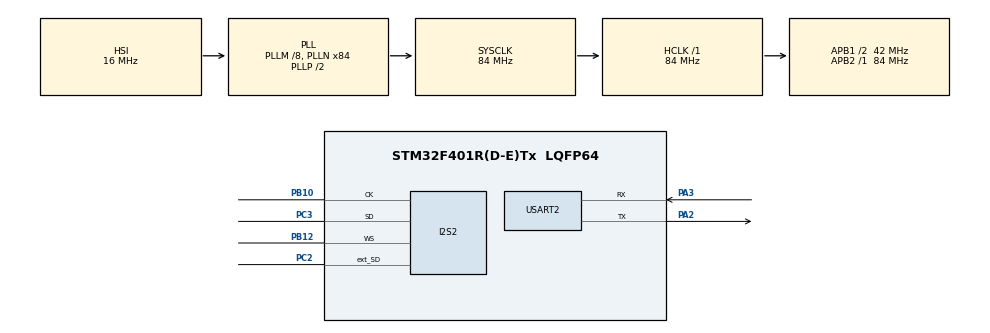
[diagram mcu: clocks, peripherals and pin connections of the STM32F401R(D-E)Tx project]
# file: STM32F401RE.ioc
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Dma.Request0=SPI2_RX
Dma.SPI2_RX.0.Direction=DMA_PERIPH_TO_MEMORY
Dma.SPI2_RX.0.FIFOMode=DMA_FIFOMODE_DISABLE
Dma.SPI2_RX.0.Instance=DMA1_Stream3
Dma.SPI2_RX.0.MemDataAlignment=DMA_MDATAALIGN_WORD
Dma.SPI2_RX.0.MemInc=DMA_MINC_ENABLE
Dma.SPI2_RX.0.Mode=DMA_NORMAL
Dma.SPI2_RX.0.PeriphDataAlignment=DMA_PDATAALIGN_WORD
Dma.SPI2_RX.0.PeriphInc=DMA_PINC_DISABLE
Dma.SPI2_RX.0.Priority=DMA_PRIORITY_LOW
I2S2.AudioFreq=I2S_AUDIOFREQ_48K
I2S2.CPOL=I2S_CPOL_HIGH
I2S2.DataFormat=I2S_DATAFORMAT_24B
I2S2.ErrorAudioFreq=-0.79 %
I2S2.FullDuplexMode=I2S_FULLDUPLEXMODE_ENABLE
I2S2.Instance=SPI$Index
I2S2.Mode=I2S_MODE_MASTER_RX
I2S2.RealAudioFreq=47.619 KHz
I2S2.Standard=I2S_STANDARD_MSB
I2S2.VirtualMode=I2S_MODE_MASTER
Mcu.Family=STM32F4
Mcu.Name=STM32F401R(D-E)Tx
Mcu.Package=LQFP64
NVIC.DMA1_Stream3_IRQn=true\:0\:0\:false\:false\:true\:false
NVIC.PriorityGroup=NVIC_PRIORITYGROUP_4
NVIC.SPI2_IRQn=true\:0\:0\:false\:false\:true\:true
PA13.Mode=Serial_Wire
PA13.Signal=SYS_JTMS-SWDIO
PA14.Mode=Serial_Wire
PA14.Signal=SYS_JTCK-SWCLK
PA2.Mode=Asynchronous
PA2.Signal=USART2_TX
PA3.Mode=Asynchronous
PA3.Signal=USART2_RX
PB10.Mode=Full_Duplex_Master
PB10.Signal=I2S2_CK
PB12.Mode=Full_Duplex_Master
PB12.Signal=I2S2_WS
PC2.Mode=Full_Duplex_Master
PC2.Signal=I2S2_ext_SD
PC3.Mode=Full_Duplex_Master
PC3.Signal=I2S2_SD
ProjectManager.HeapSize=0x400
ProjectManager.StackSize=0x800
ProjectManager.TargetToolchain=MDK-ARM V5
RCC.48MHZClocksFreq_Value=42000000
RCC.AHBFreq_Value=84000000
RCC.APB1CLKDivider=RCC_HCLK_DIV2
RCC.APB1Freq_Value=42000000
RCC.APB1TimFreq_Value=84000000
RCC.APB2Freq_Value=84000000
RCC.APB2TimFreq_Value=84000000
RCC.CortexFreq_Value=84000000
RCC.HCLKFreq_Value=84000000
RCC.HSE_VALUE=25000000
RCC.HSI_VALUE=16000000
RCC.LSE_VALUE=32768
RCC.PLLM=8
RCC.PLLN=84
RCC.SYSCLKFreq_VALUE=84000000
RCC.SYSCLKSource=RCC_SYSCLKSOURCE_PLLCLK
RCC.VCOOutputFreq_Value=168000000
USART2.VirtualMode=VM_ASYNC
board=custom

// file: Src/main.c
/* USER CODE BEGIN Header */
/**
  ******************************************************************************
  * @file           : main.c
  * @brief          : Main program body
  ******************************************************************************
  ** This notice applies to any and all portions of this file
  * that are not between comment pairs USER CODE BEGIN and
  * USER CODE END. Other portions of this file, whether
  * inserted by the user or by software development tools
  * are owned by their respective copyright owners.
  *
  * COPYRIGHT(c) 2019 STMicroelectronics
  *
  * Redistribution and use in source and binary forms, with or without modification,
  * are permitted provided that the following conditions are met:
  *   1. Redistributions of source code must retain the above copyright notice,
  *      this list of conditions and the following disclaimer.
  *   2. Redistributions in binary form must reproduce the above copyright notice,
  *      this list of conditions and the following disclaimer in the documentation
  *      and/or other materials provided with the distribution.
  *   3. Neither the name of STMicroelectronics nor the names of its contributors
  *      may be used to endorse or promote products derived from this software
  *      without specific prior written permission.
  *
  * THIS SOFTWARE IS PROVIDED BY THE COPYRIGHT HOLDERS AND CONTRIBUTORS "AS IS"
  * AND ANY EXPRESS OR IMPLIED WARRANTIES, INCLUDING, BUT NOT LIMITED TO, THE
  * IMPLIED WARRANTIES OF MERCHANTABILITY AND FITNESS FOR A PARTICULAR PURPOSE ARE
  * DISCLAIMED. IN NO EVENT SHALL THE COPYRIGHT HOLDER OR CONTRIBUTORS BE LIABLE
  * FOR ANY DIRECT, INDIRECT, INCIDENTAL, SPECIAL, EXEMPLARY, OR CONSEQUENTIAL
  * DAMAGES (INCLUDING, BUT NOT LIMITED TO, PROCUREMENT OF SUBSTITUTE GOODS OR
  * SERVICES; LOSS OF USE, DATA, OR PROFITS; OR BUSINESS INTERRUPTION) HOWEVER
  * CAUSED AND ON ANY THEORY OF LIABILITY, WHETHER IN CONTRACT, STRICT LIABILITY,
  * OR TORT (INCLUDING NEGLIGENCE OR OTHERWISE) ARISING IN ANY WAY OUT OF THE USE
  * OF THIS SOFTWARE, EVEN IF ADVISED OF THE POSSIBILITY OF SUCH DAMAGE.
  *
  ******************************************************************************
  */
/* USER CODE END Header */

#include "main.h"

I2S_HandleTypeDef hi2s2;
DMA_HandleTypeDef hdma_spi2_rx;

UART_HandleTypeDef huart2;

/* USER CODE BEGIN PV */

#define I2S_LENGTH		(20)
uint16_t I2SRXBUFFER[I2S_LENGTH] ={0};
uint16_t I2STXBUFFER[I2S_LENGTH] ={0};

/* USER CODE END PV */

void SystemClock_Config(void);
static void MX_GPIO_Init(void);
static void MX_DMA_Init(void);
static void MX_USART2_UART_Init(void);
static void MX_I2S2_Init(void);
/* USER CODE BEGIN PFP */
#ifdef __GNUC__
/* With GCC/RAISONANCE, small printf (option LD Linker->Libraries->Small printf
 set to 'Yes') calls __io_putchar() */
#define PUTCHAR_PROTOTYPE int __io_putchar(int ch)
#else
#define PUTCHAR_PROTOTYPE int fputc(int ch, FILE *f)
#endif /* __GNUC__ */

/**
  * @brief  Retargets the C library printf function to the USART.
  * @param  None
  * @retval None
  */

PUTCHAR_PROTOTYPE
{
	/* Place your implementation of fputc here */
	/* e.g. write a character to the EVAL_COM1 and Loop until the end of transmission */
	HAL_UART_Transmit(&huart2, (uint8_t *)&ch, 1, 0xFFFF);

	return ch;
}

/* USER CODE END PFP */

/* USER CODE BEGIN 0 */

void I2S_RxReceive(void)
{
	#define	TIMEOUT	(0x100)
	uint32_t i = 0;
	HAL_StatusTypeDef res = HAL_OK;
//	uint32_t timeout = TIMEOUT;

	#if 1
	res = HAL_I2S_Receive_DMA(&hi2s2,(uint16_t*)&I2SRXBUFFER[0], I2S_LENGTH );
//	res = HAL_I2S_Receive(&hi2s2,(uint16_t*)&I2SRXBUFFER[0], I2S_LENGTH ,TIMEOUT);
//	res = HAL_I2S_Receive_IT(&hi2s2,(uint16_t*)&I2SRXBUFFER[0], I2S_LENGTH );

	HAL_I2S_DMAStop(&hi2s2);

	if (res != HAL_OK)
	{
		printf("%s : (0x%2X)(0x%2X)(0x%2X)\r\n" , __FUNCTION__ , res , HAL_I2S_GetState(&hi2s2),HAL_I2S_GetError(&hi2s2));
		Error_Handler();
	}
	#endif

	#if 1	//debug
	for (i= 0;i<I2S_LENGTH;i++)
	{
		printf("0x%4X, " , I2SRXBUFFER[i]);

		if ((i+1)%(I2S_LENGTH>>1) == 0)
		{
			printf("\r\n");
		}
	}
	#endif

	HAL_I2S_DMAResume(&hi2s2);
}

void HAL_I2S_RxCpltCallback(I2S_HandleTypeDef *hi2s)
{
	printf("%s \r\n" , __FUNCTION__ );

}

/* USER CODE END 0 */

int main(void)
{

  /* MCU Configuration--------------------------------------------------------*/

  /* Reset of all peripherals, Initializes the Flash interface and the Systick. */
  HAL_Init();

  /* Configure the system clock */
  SystemClock_Config();

  /* Initialize all configured peripherals */
  MX_GPIO_Init();
  MX_DMA_Init();
  MX_USART2_UART_Init();
  MX_I2S2_Init();

  /* Infinite loop */
  while (1)
  {
	HAL_Delay(1000);
	printf("while (1)\r\n");
	I2S_RxReceive();

  }
}

void SystemClock_Config(void)
{
  RCC_OscInitTypeDef RCC_OscInitStruct = {0};
  RCC_ClkInitTypeDef RCC_ClkInitStruct = {0};
  RCC_PeriphCLKInitTypeDef PeriphClkInitStruct = {0};

  /**Configure the main internal regulator output voltage
  */
  __HAL_RCC_PWR_CLK_ENABLE();
  __HAL_PWR_VOLTAGESCALING_CONFIG(PWR_REGULATOR_VOLTAGE_SCALE2);
  /**Initializes the CPU, AHB and APB busses clocks
  */
  RCC_OscInitStruct.OscillatorType = RCC_OSCILLATORTYPE_HSI;
  RCC_OscInitStruct.HSIState = RCC_HSI_ON;
  RCC_OscInitStruct.HSICalibrationValue = RCC_HSICALIBRATION_DEFAULT;
  RCC_OscInitStruct.PLL.PLLState = RCC_PLL_ON;
  RCC_OscInitStruct.PLL.PLLSource = RCC_PLLSOURCE_HSI;
  RCC_OscInitStruct.PLL.PLLM = 8;
  RCC_OscInitStruct.PLL.PLLN = 84;
  RCC_OscInitStruct.PLL.PLLP = RCC_PLLP_DIV2;
  RCC_OscInitStruct.PLL.PLLQ = 4;
  if (HAL_RCC_OscConfig(&RCC_OscInitStruct) != HAL_OK)
  {
    Error_Handler();
  }
  /**Initializes the CPU, AHB and APB busses clocks
  */
  RCC_ClkInitStruct.ClockType = RCC_CLOCKTYPE_HCLK|RCC_CLOCKTYPE_SYSCLK
                              |RCC_CLOCKTYPE_PCLK1|RCC_CLOCKTYPE_PCLK2;
  RCC_ClkInitStruct.SYSCLKSource = RCC_SYSCLKSOURCE_PLLCLK;
  RCC_ClkInitStruct.AHBCLKDivider = RCC_SYSCLK_DIV1;
  RCC_ClkInitStruct.APB1CLKDivider = RCC_HCLK_DIV2;
  RCC_ClkInitStruct.APB2CLKDivider = RCC_HCLK_DIV1;

  if (HAL_RCC_ClockConfig(&RCC_ClkInitStruct, FLASH_LATENCY_2) != HAL_OK)
  {
    Error_Handler();
  }
  PeriphClkInitStruct.PeriphClockSelection = RCC_PERIPHCLK_I2S;
  PeriphClkInitStruct.PLLI2S.PLLI2SN = 192;
  PeriphClkInitStruct.PLLI2S.PLLI2SR = 2;
  if (HAL_RCCEx_PeriphCLKConfig(&PeriphClkInitStruct) != HAL_OK)
  {
    Error_Handler();
  }
}

static void MX_I2S2_Init(void)
{

  /* USER CODE BEGIN I2S2_Init 0 */
  HAL_I2S_DeInit(&hi2s2);
  __HAL_I2S_DISABLE(&hi2s2);
  /* USER CODE END I2S2_Init 0 */

  hi2s2.Instance = SPI2;
  hi2s2.Init.Mode = I2S_MODE_MASTER_RX;
  hi2s2.Init.Standard = I2S_STANDARD_MSB;
  hi2s2.Init.DataFormat = I2S_DATAFORMAT_24B;
  hi2s2.Init.MCLKOutput = I2S_MCLKOUTPUT_DISABLE;
  hi2s2.Init.AudioFreq = I2S_AUDIOFREQ_48K;
  hi2s2.Init.CPOL = I2S_CPOL_HIGH;
  hi2s2.Init.ClockSource = I2S_CLOCK_PLL;
  hi2s2.Init.FullDuplexMode = I2S_FULLDUPLEXMODE_ENABLE;
  if (HAL_I2S_Init(&hi2s2) != HAL_OK)
  {
    Error_Handler();
  }

}

static void MX_USART2_UART_Init(void)
{

  huart2.Instance = USART2;
  huart2.Init.BaudRate = 115200;
  huart2.Init.WordLength = UART_WORDLENGTH_8B;
  huart2.Init.StopBits = UART_STOPBITS_1;
  huart2.Init.Parity = UART_PARITY_NONE;
  huart2.Init.Mode = UART_MODE_TX_RX;
  huart2.Init.HwFlowCtl = UART_HWCONTROL_NONE;
  huart2.Init.OverSampling = UART_OVERSAMPLING_16;
  if (HAL_UART_Init(&huart2) != HAL_OK)
  {
    Error_Handler();
  }
  /* USER CODE BEGIN USART2_Init 2 */
	printf("HAL_RCC_GetSysClockFreq = %d\r\n",HAL_RCC_GetSysClockFreq());
 	printf("HAL_RCC_GetHCLKFreq = %d\r\n",HAL_RCC_GetHCLKFreq());
	printf("HAL_RCC_GetPCLK1Freq = %d\r\n",HAL_RCC_GetPCLK1Freq());
	printf("HAL_RCC_GetPCLK2Freq = %d\r\n",HAL_RCC_GetPCLK2Freq());

  /* USER CODE END USART2_Init 2 */

}

static void MX_DMA_Init(void)
{
  /* DMA controller clock enable */
  __HAL_RCC_DMA1_CLK_ENABLE();

  /* DMA interrupt init */
  /* DMA1_Stream3_IRQn interrupt configuration */
  HAL_NVIC_SetPriority(DMA1_Stream3_IRQn, 0, 0);
  HAL_NVIC_EnableIRQ(DMA1_Stream3_IRQn);

}

static void MX_GPIO_Init(void)
{

  /* GPIO Ports Clock Enable */
  __HAL_RCC_GPIOC_CLK_ENABLE();
  __HAL_RCC_GPIOA_CLK_ENABLE();
  __HAL_RCC_GPIOB_CLK_ENABLE();

}

void Error_Handler(void)
{
}

/************************ (C) COPYRIGHT STMicroelectronics *****END OF FILE****/
